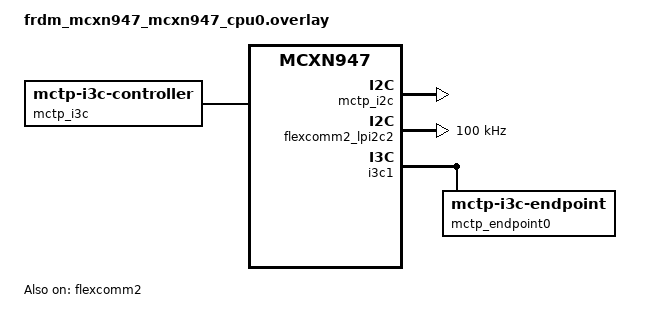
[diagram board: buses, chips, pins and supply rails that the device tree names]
#include <zephyr/dt-bindings/gpio/gpio.h>

/* Sets up I2C and a GPIO on JP8 to use as our i2c bus for MCTP */

&gpio0 {
	status = "okay";
};

&gpio4 {
	status = "okay";
};

&flexcomm2 {
	status = "okay";
};

&flexcomm2_lpi2c2 {
	status = "okay";
	clock-frequency = <I2C_BITRATE_STANDARD>;
};

&i3c1 {
	status = "okay";

	i3c-scl-hz = <DT_FREQ_M(4)>;
	i3c-od-scl-hz = <DT_FREQ_K(1500)>;

	mctp_endpoint0: mctp_endpoint0@20a00000011 {
		compatible = "zephyr,mctp-i3c-endpoint";
		reg = <0x0000 0x020a 0x00000011>;
		status = "okay";
	};
};

/ {
	mctp_i2c: mctp_i2c {
		compatible = "zephyr,mctp-i2c-gpio-controller";
		i2c = <&flexcomm2_lpi2c2>;
		endpoint-ids = <11>, <12>;
		endpoint-addrs = <70>, <71>;
		endpoint-gpios = <&gpio4 6 GPIO_ACTIVE_HIGH>, <&gpio4 7 GPIO_ACTIVE_HIGH>;
	};
	mctp_i3c: mctp_i3c {
		compatible = "zephyr,mctp-i3c-controller";
		endpoints = <&mctp_endpoint0>;
		endpoint-ids = <11>;
	};
};
